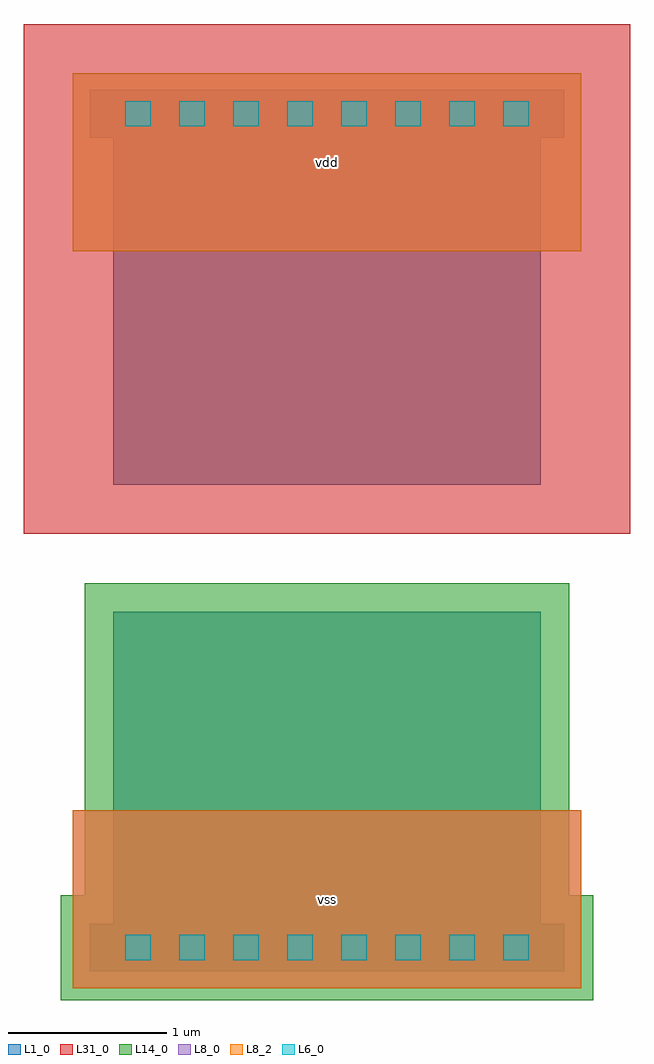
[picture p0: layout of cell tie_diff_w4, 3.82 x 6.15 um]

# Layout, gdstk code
import gdstk
lib = gdstk.Library(unit=1e-6, precision=1e-09)
def R(c, l, rs):  # rectangles x0, y0, x1, y1
    for r in rs: c.add(gdstk.rectangle(r[:2], r[2:], *l))
def A(c, l, x, y, w, h, nx, ny, dx, dy):  # array of equal rectangles
    R(c, l, [(x+i*dx, y+j*dy, x+i*dx+w, y+j*dy+h) for i in range(nx) for j in range(ny)])
def P(c, l, *ps):  # polygons
    for p in ps: c.add(gdstk.Polygon(p, *l))
L1_0 = (1, 0)
L6_0 = (6, 0)
L8_0 = (8, 0)
L8_2 = (8, 2)
L14_0 = (14, 0)
L31_0 = (31, 0)

tie_diff_w4 = lib.new_cell('tie_diff_w4')
P(tie_diff_w4, L1_0, [(0.255,3.17),(0.255,5.355),(0.105,5.355),(0.105,5.655),(3.095,5.655),(3.095,5.355),(2.945,5.355),(2.945,3.17)],
  [(0.105,0.105),(0.105,0.405),(0.255,0.405),(0.255,2.37),(2.945,2.37),(2.945,0.405),(3.095,0.405),(3.095,0.105)])
A(tie_diff_w4, L6_0, 0.33, 0.175, 0.16, 0.16, 8, 2, 0.34, 5.25)
R(tie_diff_w4, L8_0, [(0,0,3.2,1.12), (0,4.64,3.2,5.76)])
R(tie_diff_w4, L8_2, [(0,0,3.2,1.12), (0,4.64,3.2,5.76)])
P(tie_diff_w4, L14_0, [(-0.075,-0.075),(-0.075,0.585),(0.075,0.585),(0.075,2.55),(3.125,2.55),(3.125,0.585),(3.275,0.585),(3.275,-0.075)])
R(tie_diff_w4, L31_0, [(-0.31,2.86,3.51,6.07)])
tie_diff_w4.add(gdstk.Label('vdd', (1.6,5.2), layer=8, texttype=2))
tie_diff_w4.add(gdstk.Label('vss', (1.6,0.56), layer=8, texttype=2))

lib.write_gds('tie_diff_w4.gds')
